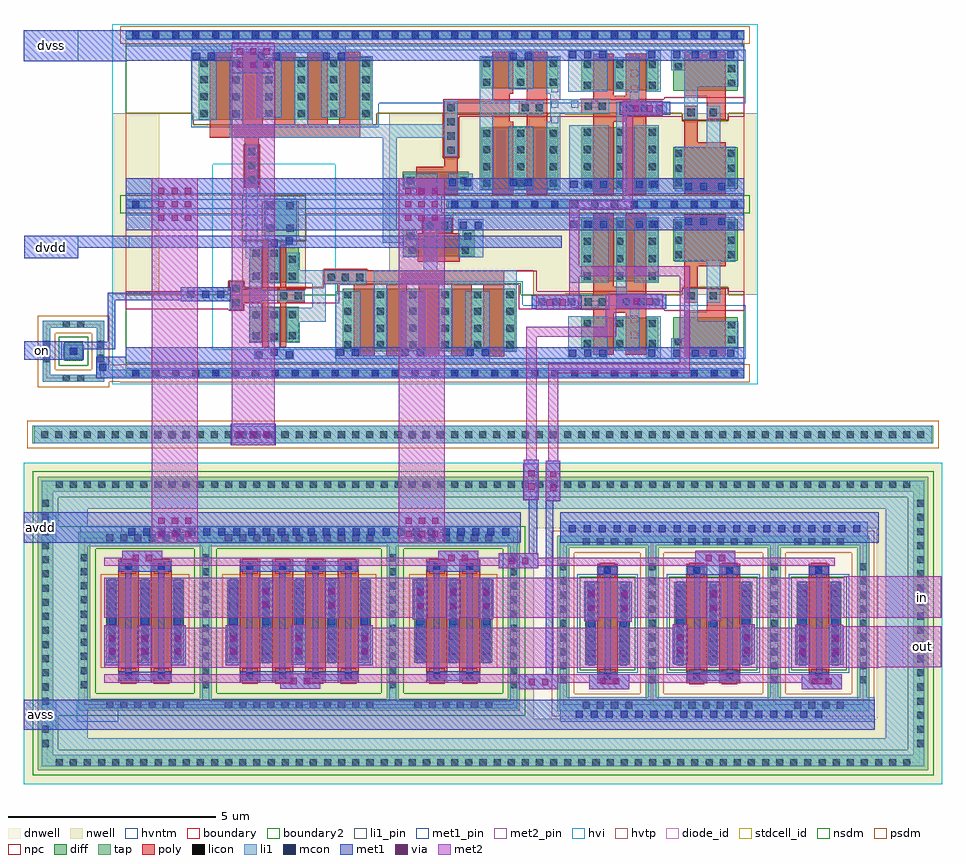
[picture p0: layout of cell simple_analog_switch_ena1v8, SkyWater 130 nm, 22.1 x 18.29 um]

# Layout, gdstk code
from math import pi, radians
import gdstk
lib = gdstk.Library(unit=1e-6, precision=1e-09)
def R(c, l, rs):  # rectangles x0, y0, x1, y1
    for r in rs: c.add(gdstk.rectangle(r[:2], r[2:], *l))
def A(c, l, x, y, w, h, nx, ny, dx, dy):  # array of equal rectangles
    R(c, l, [(x+i*dx, y+j*dy, x+i*dx+w, y+j*dy+h) for i in range(nx) for j in range(ny)])
def P(c, l, *ps):  # polygons
    for p in ps: c.add(gdstk.Polygon(p, *l))
dnwell = (64, 18)
nwell = (64, 20)
diff = (65, 20)
tap = (65, 44)
poly = (66, 20)
licon = (66, 44)
li1_pin = (67, 16)
li1 = (67, 20)
mcon = (67, 44)
met1_pin = (68, 16)
met1 = (68, 20)
via = (68, 44)
met2_pin = (69, 16)
met2 = (69, 20)
hvi = (75, 20)
hvtp = (78, 44)
stdcell_id = (81, 4)
diode_id = (81, 23)
nsdm = (93, 44)
psdm = (94, 20)
npc = (95, 20)
hvntm = (125, 20)
boundary = (235, 4)
boundary2 = (236, 0)

iso_switch_via = lib.new_cell('iso_switch_via')
R(iso_switch_via, met1, [(3.26,-14.57,3.62,-13.61)])
R(iso_switch_via, via, [(3.36,-14.325,3.51,-14.175), (3.36,-14.005,3.51,-13.855)])
R(iso_switch_via, met2, [(3.26,-14.57,3.62,-13.61)])

sky130_fd_pr__pfet_g5v0d = lib.new_cell('sky130_fd_pr__pfet_g5v0d10v5_KL97Y6')
R(sky130_fd_pr__pfet_g5v0d, nwell, [(-1.935,-2.485,1.935,2.485)])
R(sky130_fd_pr__pfet_g5v0d, diff, [(-0.935,-1,0.935,1)])
R(sky130_fd_pr__pfet_g5v0d, tap, [(-1.605,-2.155,1.605,-1.865), (-1.605,-1.865,-1.315,1.865), (1.315,-1.865,1.605,1.865), (-1.605,1.865,1.605,2.155)])
R(sky130_fd_pr__pfet_g5v0d, poly, [(-0.645,-1.485,-0.145,1.485), (0.145,-1.485,0.645,1.485)])
A(sky130_fd_pr__pfet_g5v0d, licon, -0.935, -2.095, 0.17, 0.17, 6, 2, 0.34, 4.02)
A(sky130_fd_pr__pfet_g5v0d, licon, -1.545, -1.615, 0.17, 0.17, 1, 10, 0, 0.34)
A(sky130_fd_pr__pfet_g5v0d, licon, 1.375, -1.615, 0.17, 0.17, 1, 10, 0, 0.34)
A(sky130_fd_pr__pfet_g5v0d, licon, -0.875, -0.935, 0.17, 0.17, 3, 6, 0.79, 0.34)
R(sky130_fd_pr__pfet_g5v0d, licon, [(-0.48,-1.405,-0.31,-1.235), (0.31,-1.405,0.48,-1.235), (-0.48,1.235,-0.31,1.405), (0.31,1.235,0.48,1.405)])
A(sky130_fd_pr__pfet_g5v0d, li1, -0.875, -1.02, 0.17, 2.04, 3, 1, 0.79, 0)
R(sky130_fd_pr__pfet_g5v0d, li1, [(-1.545,-2.095,1.545,-1.925), (-1.545,-1.925,-1.375,1.925), (1.375,-1.925,1.545,1.925), (-0.645,-1.405,-0.145,-1.235), (0.145,-1.405,0.645,-1.235), (-0.645,1.235,-0.145,1.405), (0.145,1.235,0.645,1.405), (-1.545,1.925,1.545,2.095)])
A(sky130_fd_pr__pfet_g5v0d, mcon, -0.875, -0.805, 0.17, 0.17, 3, 5, 0.79, 0.36)
R(sky130_fd_pr__pfet_g5v0d, mcon, [(-0.48,-1.405,-0.31,-1.235), (0.31,-1.405,0.48,-1.235), (-0.48,1.235,-0.31,1.405), (0.31,1.235,0.48,1.405)])
A(sky130_fd_pr__pfet_g5v0d, met1, -0.905, -1, 0.23, 2, 3, 1, 0.79, 0)
R(sky130_fd_pr__pfet_g5v0d, met1, [(-0.625,-1.435,-0.165,-1.205), (0.165,-1.435,0.625,-1.205), (-0.625,1.205,-0.165,1.435), (0.165,1.205,0.625,1.435)])
R(sky130_fd_pr__pfet_g5v0d, hvi, [(-1.935,-2.485,1.935,2.485)])
R(sky130_fd_pr__pfet_g5v0d, nsdm, [(-1.73,-2.28,1.73,-1.74), (-1.73,-1.74,-1.19,1.74), (1.19,-1.74,1.73,1.74), (-1.73,1.74,1.73,2.28)])
R(sky130_fd_pr__pfet_g5v0d, psdm, [(-1.06,-1.125,1.06,1.125)])
R(sky130_fd_pr__pfet_g5v0d, npc, [(-0.58,-1.505,-0.21,-1.135), (0.21,-1.505,0.58,-1.135), (-0.58,1.135,-0.21,1.505), (0.21,1.135,0.58,1.505)])
R(sky130_fd_pr__pfet_g5v0d, boundary, [(-1.46,-2.01,1.46,2.01)])

c_sky130_fd_pr__pfet_g5v0d = lib.new_cell('sky130_fd_pr__pfet_g5v0d10v5_KLHCT5')
R(c_sky130_fd_pr__pfet_g5v0d, nwell, [(-2.725,-2.485,2.725,2.485)])
R(c_sky130_fd_pr__pfet_g5v0d, diff, [(-1.725,-1,1.725,1)])
R(c_sky130_fd_pr__pfet_g5v0d, tap, [(-2.395,-2.155,2.395,-1.865), (-2.395,-1.865,-2.105,1.865), (2.105,-1.865,2.395,1.865), (-2.395,1.865,2.395,2.155)])
A(c_sky130_fd_pr__pfet_g5v0d, poly, -1.435, -1.485, 0.5, 2.97, 4, 1, 0.79, 0)
A(c_sky130_fd_pr__pfet_g5v0d, licon, -1.785, -2.095, 0.17, 0.17, 11, 2, 0.34, 4.02)
A(c_sky130_fd_pr__pfet_g5v0d, licon, -2.335, -1.615, 0.17, 0.17, 1, 10, 0, 0.34)
A(c_sky130_fd_pr__pfet_g5v0d, licon, 2.165, -1.615, 0.17, 0.17, 1, 10, 0, 0.34)
A(c_sky130_fd_pr__pfet_g5v0d, licon, -1.27, -1.405, 0.17, 0.17, 4, 2, 0.79, 2.64)
A(c_sky130_fd_pr__pfet_g5v0d, licon, -1.665, -0.935, 0.17, 0.17, 5, 6, 0.79, 0.34)
A(c_sky130_fd_pr__pfet_g5v0d, li1, -1.435, -1.405, 0.5, 0.17, 4, 2, 0.79, 2.64)
A(c_sky130_fd_pr__pfet_g5v0d, li1, -1.665, -1.02, 0.17, 2.04, 5, 1, 0.79, 0)
R(c_sky130_fd_pr__pfet_g5v0d, li1, [(-2.335,-2.095,2.335,-1.925), (-2.335,-1.925,-2.165,1.925), (2.165,-1.925,2.335,1.925), (-2.335,1.925,2.335,2.095)])
A(c_sky130_fd_pr__pfet_g5v0d, mcon, -1.27, -1.405, 0.17, 0.17, 4, 2, 0.79, 2.64)
A(c_sky130_fd_pr__pfet_g5v0d, mcon, -1.665, -0.805, 0.17, 0.17, 5, 5, 0.79, 0.36)
A(c_sky130_fd_pr__pfet_g5v0d, met1, -1.415, -1.435, 0.46, 0.23, 4, 2, 0.79, 2.64)
A(c_sky130_fd_pr__pfet_g5v0d, met1, -1.695, -1, 0.23, 2, 5, 1, 0.79, 0)
R(c_sky130_fd_pr__pfet_g5v0d, hvi, [(-2.725,-2.485,2.725,2.485)])
R(c_sky130_fd_pr__pfet_g5v0d, nsdm, [(-2.52,-2.28,2.52,-1.74), (-2.52,-1.74,-1.98,1.74), (1.98,-1.74,2.52,1.74), (-2.52,1.74,2.52,2.28)])
R(c_sky130_fd_pr__pfet_g5v0d, psdm, [(-1.85,-1.125,1.85,1.125)])
A(c_sky130_fd_pr__pfet_g5v0d, npc, -1.37, -1.505, 0.37, 0.37, 4, 2, 0.79, 2.64)
R(c_sky130_fd_pr__pfet_g5v0d, boundary, [(-2.25,-2.01,2.25,2.01)])

sky130_fd_pr__nfet_g5v0d = lib.new_cell('sky130_fd_pr__nfet_g5v0d10v5_WSEQJ8')
R(sky130_fd_pr__nfet_g5v0d, diff, [(-0.54,-1,0.54,1)])
R(sky130_fd_pr__nfet_g5v0d, tap, [(-1.21,-2.11,1.21,-1.82), (-1.21,-1.82,-0.92,1.82), (0.92,-1.82,1.21,1.82), (-1.21,1.82,1.21,2.11)])
R(sky130_fd_pr__nfet_g5v0d, poly, [(-0.25,-1.44,0.25,1.44)])
A(sky130_fd_pr__nfet_g5v0d, licon, -0.595, -2.05, 0.17, 0.17, 4, 2, 0.34, 3.93)
A(sky130_fd_pr__nfet_g5v0d, licon, -1.15, -1.445, 0.17, 0.17, 1, 9, 0, 0.34)
A(sky130_fd_pr__nfet_g5v0d, licon, 0.98, -1.445, 0.17, 0.17, 1, 9, 0, 0.34)
A(sky130_fd_pr__nfet_g5v0d, licon, -0.48, -0.935, 0.17, 0.17, 1, 6, 0, 0.34)
A(sky130_fd_pr__nfet_g5v0d, licon, 0.31, -0.935, 0.17, 0.17, 1, 6, 0, 0.34)
R(sky130_fd_pr__nfet_g5v0d, licon, [(-0.085,-1.36,0.085,-1.19), (-0.085,1.19,0.085,1.36)])
R(sky130_fd_pr__nfet_g5v0d, li1, [(-1.15,-2.05,1.15,-1.88), (-1.15,-1.88,-0.98,1.88), (0.98,-1.88,1.15,1.88), (-0.25,-1.36,0.25,-1.19), (-0.48,-1.02,-0.31,1.02), (0.31,-1.02,0.48,1.02), (-0.25,1.19,0.25,1.36), (-1.15,1.88,1.15,2.05)])
A(sky130_fd_pr__nfet_g5v0d, mcon, -0.48, -0.805, 0.17, 0.17, 1, 5, 0, 0.36)
A(sky130_fd_pr__nfet_g5v0d, mcon, 0.31, -0.805, 0.17, 0.17, 1, 5, 0, 0.36)
R(sky130_fd_pr__nfet_g5v0d, mcon, [(-0.085,-1.36,0.085,-1.19), (-0.085,1.19,0.085,1.36)])
R(sky130_fd_pr__nfet_g5v0d, met1, [(-0.23,-1.39,0.23,-1.16), (-0.51,-1,-0.28,1), (0.28,-1,0.51,1), (-0.23,1.16,0.23,1.39)])
R(sky130_fd_pr__nfet_g5v0d, hvi, [(-1.395,-2.295,1.395,2.295)])
R(sky130_fd_pr__nfet_g5v0d, nsdm, [(-0.665,-1.125,0.665,1.125)])
R(sky130_fd_pr__nfet_g5v0d, psdm, [(-1.335,-2.235,1.335,-1.695), (-1.335,-1.695,-0.795,1.695), (0.795,-1.695,1.335,1.695), (-1.335,1.695,1.335,2.235)])
R(sky130_fd_pr__nfet_g5v0d, npc, [(-0.185,-1.46,0.185,-1.09), (-0.185,1.09,0.185,1.46)])
R(sky130_fd_pr__nfet_g5v0d, hvntm, [(-0.725,-1.185,0.725,1.185)])
R(sky130_fd_pr__nfet_g5v0d, boundary, [(-1.06,-1.96,1.06,1.96)])

c_sky130_fd_pr__nfet_g5v0d = lib.new_cell('sky130_fd_pr__nfet_g5v0d10v5_EJGQFX')
R(c_sky130_fd_pr__nfet_g5v0d, diff, [(-0.935,-1,0.935,1)])
R(c_sky130_fd_pr__nfet_g5v0d, tap, [(-1.605,-2.11,1.605,-1.82), (-1.605,-1.82,-1.315,1.82), (1.315,-1.82,1.605,1.82), (-1.605,1.82,1.605,2.11)])
R(c_sky130_fd_pr__nfet_g5v0d, poly, [(-0.645,-1.44,-0.145,1.44), (0.145,-1.44,0.645,1.44)])
A(c_sky130_fd_pr__nfet_g5v0d, licon, -0.935, -2.05, 0.17, 0.17, 6, 2, 0.34, 3.93)
A(c_sky130_fd_pr__nfet_g5v0d, licon, -0.875, -0.935, 0.17, 0.17, 3, 6, 0.79, 0.34)
R(c_sky130_fd_pr__nfet_g5v0d, licon, [(-0.48,-1.36,-0.31,-1.19), (0.31,-1.36,0.48,-1.19), (-0.48,1.19,-0.31,1.36), (0.31,1.19,0.48,1.36)])
A(c_sky130_fd_pr__nfet_g5v0d, li1, -0.875, -1.02, 0.17, 2.04, 3, 1, 0.79, 0)
R(c_sky130_fd_pr__nfet_g5v0d, li1, [(-1.545,-2.05,1.545,-1.88), (-1.545,-1.88,-1.375,1.88), (1.375,-1.88,1.545,1.88), (-0.645,-1.36,-0.145,-1.19), (0.145,-1.36,0.645,-1.19), (-0.645,1.19,-0.145,1.36), (0.145,1.19,0.645,1.36), (-1.545,1.88,1.545,2.05)])
A(c_sky130_fd_pr__nfet_g5v0d, mcon, -0.875, -0.805, 0.17, 0.17, 3, 5, 0.79, 0.36)
R(c_sky130_fd_pr__nfet_g5v0d, mcon, [(-0.48,-1.36,-0.31,-1.19), (0.31,-1.36,0.48,-1.19), (-0.48,1.19,-0.31,1.36), (0.31,1.19,0.48,1.36)])
A(c_sky130_fd_pr__nfet_g5v0d, met1, -0.905, -1, 0.23, 2, 3, 1, 0.79, 0)
R(c_sky130_fd_pr__nfet_g5v0d, met1, [(-0.625,-1.39,-0.165,-1.16), (0.165,-1.39,0.625,-1.16), (-0.625,1.16,-0.165,1.39), (0.165,1.16,0.625,1.39)])
R(c_sky130_fd_pr__nfet_g5v0d, hvi, [(-1.79,-2.295,1.79,2.295)])
R(c_sky130_fd_pr__nfet_g5v0d, nsdm, [(-1.06,-1.125,1.06,1.125)])
R(c_sky130_fd_pr__nfet_g5v0d, psdm, [(-1.73,-2.235,1.73,-1.695), (-1.73,-1.695,-1.19,1.695), (1.19,-1.695,1.73,1.695), (-1.73,1.695,1.73,2.235)])
R(c_sky130_fd_pr__nfet_g5v0d, npc, [(-0.58,-1.46,-0.21,-1.09), (0.21,-1.46,0.58,-1.09), (-0.58,1.09,-0.21,1.46), (0.21,1.09,0.58,1.46)])
R(c_sky130_fd_pr__nfet_g5v0d, hvntm, [(-1.12,-1.185,1.12,1.185)])
R(c_sky130_fd_pr__nfet_g5v0d, boundary, [(-1.46,-1.965,1.46,1.965)])

simple_analog_switch = lib.new_cell('simple_analog_switch')
R(simple_analog_switch, dnwell, [(3.435,0.635,24.44,7.305)])
R(simple_analog_switch, nwell, [(2.885,0.12,24.985,1.695), (2.885,1.695,3.92,2.31), (23.41,1.695,24.985,6.275), (2.885,2.31,3.865,6.275), (2.885,6.275,24.985,7.85)])
R(simple_analog_switch, tap, [(3.22,0.45,24.655,0.82), (3.22,0.82,3.59,7.15), (24.285,0.82,24.655,7.15), (3.22,7.15,24.655,7.52)])
A(simple_analog_switch, licon, 3.65, 0.55, 0.17, 0.17, 61, 2, 0.34, 6.7)
A(simple_analog_switch, licon, 3.32, 1.01, 0.17, 0.17, 1, 18, 0, 0.34)
A(simple_analog_switch, licon, 24.385, 1.01, 0.17, 0.17, 1, 18, 0, 0.34)
R(simple_analog_switch, li1, [(3.32,0.55,24.555,1.22), (3.32,1.22,4.425,5.845), (23.63,1.22,24.555,6.74), (15.8,1.62,23.365,2.205), (3.32,5.845,14.77,6.315), (15.8,5.98,23.19,6.43), (3.32,6.315,4.425,6.74), (3.32,6.74,24.555,7.42)])
A(simple_analog_switch, mcon, 16.165, 1.715, 0.17, 0.17, 17, 1, 0.36, 0)
A(simple_analog_switch, mcon, 5.4, 6.1, 0.17, 0.17, 26, 1, 0.36, 0)
A(simple_analog_switch, mcon, 16, 6.18, 0.17, 0.17, 20, 1, 0.36, 0)
R(simple_analog_switch, met1_pin, [(4.16,1.615,5.16,2.15), (4.245,5.93,5.245,6.32), (15.44,6.93,15.78,7.835), (14.905,6.95,15.24,7.83)])
R(simple_analog_switch, met1, [(4.16,1.42,23.365,2.15), (15.44,2.57,15.62,6.93), (5.175,2.6,6.425,2.82), (8.095,2.6,10.925,2.835), (12.595,2.6,13.845,2.835), (16.87,2.6,17.01,5.335), (18.85,2.6,20.1,2.84), (21.96,2.6,22.1,5.335), (5.325,2.82,5.465,5.23), (6.12,2.82,6.26,5.23), (8.245,2.835,8.385,5.23), (9.035,2.835,9.175,5.23), (9.835,2.835,9.975,5.23), (10.625,2.835,10.765,5.23), (12.745,2.835,12.885,5.23), (13.545,2.835,13.685,5.23), (19.02,2.84,19.16,5.145), (19.81,2.84,19.95,5.145), (18.85,5.145,20.1,5.375), (5.175,5.23,6.425,5.46), (8.095,5.23,10.925,5.475), (12.595,5.23,13.845,5.475), (15.04,5.37,15.24,6.95), (4.245,5.93,14.84,6.32), (15.8,5.93,23.455,6.66), (4.25,6.32,14.84,6.66), (15.44,6.93,15.78,7.835), (14.905,6.95,15.24,7.83)])
R(simple_analog_switch, met2_pin, [(22.61,2.92,23.45,3.92), (22.615,4.12,23.445,5.12)])
R(simple_analog_switch, met2, [(4.82,2.56,22.395,2.76), (4.825,2.92,23.49,3.88), (22.61,3.88,23.49,3.92), (4.825,4.12,23.49,5.08), (22.615,5.08,23.49,5.12), (4.82,5.37,22.395,5.57)])
R(simple_analog_switch, hvi, [(2.885,0.12,24.985,1.695), (2.885,1.695,3.92,2.31), (15.155,1.695,15.535,6.275), (23.41,1.695,24.985,6.275), (2.885,2.31,3.865,6.275), (2.885,6.275,24.985,7.85)])
R(simple_analog_switch, nsdm, [(3.095,0.325,24.78,0.945), (3.095,0.945,3.715,1.76), (24.16,0.945,24.78,7.025), (3.095,1.76,4.07,6.32), (3.095,6.32,3.715,7.025), (3.095,7.025,24.78,7.645)])
simple_analog_switch.add(gdstk.Reference(iso_switch_via, (2.885,6.025), rotation=3*pi/2, x_reflection=True))
simple_analog_switch.add(gdstk.Reference(iso_switch_via, (6.865,-9.5), x_reflection=True))
simple_analog_switch.add(gdstk.Reference(iso_switch_via, (22.93,-9.57), rotation=pi))
simple_analog_switch.add(gdstk.Reference(iso_switch_via, (7.665,-10.63), x_reflection=True))
simple_analog_switch.add(gdstk.Reference(iso_switch_via, (6.055,-10.62), x_reflection=True))
simple_analog_switch.add(gdstk.Reference(iso_switch_via, (4.485,-10.63), x_reflection=True))
simple_analog_switch.add(gdstk.Reference(iso_switch_via, (3.165,-10.63), x_reflection=True))
simple_analog_switch.add(gdstk.Reference(iso_switch_via, (2.355,-10.63), x_reflection=True))
simple_analog_switch.add(gdstk.Reference(iso_switch_via, (8.985,-9.52), x_reflection=True))
simple_analog_switch.add(gdstk.Reference(iso_switch_via, (10.565,-9.52), x_reflection=True))
simple_analog_switch.add(gdstk.Reference(iso_switch_via, (9.775,-9.52), x_reflection=True))
simple_analog_switch.add(gdstk.Reference(iso_switch_via, (5.265,-9.49), x_reflection=True))
simple_analog_switch.add(gdstk.Reference(iso_switch_via, (8,6.025), rotation=3*pi/2, x_reflection=True))
simple_analog_switch.add(gdstk.Reference(iso_switch_via, (28.88,2.05), rotation=pi/2, x_reflection=True))
simple_analog_switch.add(gdstk.Reference(iso_switch_via, (23.73,-10.6), rotation=pi))
simple_analog_switch.add(gdstk.Reference(iso_switch_via, (22.12,-10.6), rotation=pi))
simple_analog_switch.add(gdstk.Reference(iso_switch_via, (25.07,-10.62), rotation=pi))
simple_analog_switch.add(gdstk.Reference(iso_switch_via, (20.78,-9.58), rotation=pi))
simple_analog_switch.add(gdstk.Reference(iso_switch_via, (19.99,-9.57), rotation=pi))
simple_analog_switch.add(gdstk.Reference(iso_switch_via, (25.87,-10.62), rotation=pi))
simple_analog_switch.add(gdstk.Reference(iso_switch_via, (1.565,-10.63), x_reflection=True))
simple_analog_switch.add(gdstk.Reference(iso_switch_via, (-8.355,8.995), rotation=3*pi/2, x_reflection=True))
simple_analog_switch.add(gdstk.Reference(iso_switch_via, (29.36,-0.86), rotation=pi/2, x_reflection=True))
simple_analog_switch.add(gdstk.Reference(iso_switch_via, (5.435,8.995), rotation=3*pi/2, x_reflection=True))
simple_analog_switch.add(gdstk.Reference(iso_switch_via, (-0.755,8.995), rotation=3*pi/2, x_reflection=True))
simple_analog_switch.add(gdstk.Reference(iso_switch_via, (-4.55,6.035), rotation=3*pi/2, x_reflection=True))
simple_analog_switch.add(gdstk.Reference(sky130_fd_pr__pfet_g5v0d, (13.22,4.04)))
simple_analog_switch.add(gdstk.Reference(sky130_fd_pr__pfet_g5v0d, (5.8,4.04)))
simple_analog_switch.add(gdstk.Reference(c_sky130_fd_pr__pfet_g5v0d, (9.51,4.04)))
simple_analog_switch.add(gdstk.Reference(sky130_fd_pr__nfet_g5v0d, (16.93,3.985), rotation=pi, x_reflection=True))
simple_analog_switch.add(gdstk.Reference(sky130_fd_pr__nfet_g5v0d, (22.02,3.985), rotation=pi, x_reflection=True))
simple_analog_switch.add(gdstk.Reference(c_sky130_fd_pr__nfet_g5v0d, (19.475,3.985), rotation=pi, x_reflection=True))
simple_analog_switch.add(gdstk.Label('on', (15.072,7.39), layer=68, texttype=5))
simple_analog_switch.add(gdstk.Label('off', (15.61,7.382), layer=68, texttype=5))
simple_analog_switch.add(gdstk.Label('vss', (4.66,1.882), layer=68, texttype=5))
simple_analog_switch.add(gdstk.Label('out', (23.03,3.42), layer=69, texttype=5))
simple_analog_switch.add(gdstk.Label('in', (23.03,4.62), layer=69, texttype=5))
simple_analog_switch.add(gdstk.Label('vdd', (4.745,6.125), layer=68, texttype=5))

sky130_fd_pr__diode_pw2n = lib.new_cell('sky130_fd_pr__diode_pw2nd_05v5_FT76RJ')
R(sky130_fd_pr__diode_pw2n, diff, [(-0.225,-0.225,0.225,0.225)])
R(sky130_fd_pr__diode_pw2n, tap, [(-0.735,-0.735,0.735,-0.565), (-0.735,-0.565,-0.565,0.565), (0.565,-0.565,0.735,0.565), (-0.735,0.565,0.735,0.735)])
R(sky130_fd_pr__diode_pw2n, licon, [(-0.255,-0.735,-0.085,-0.565), (0.085,-0.735,0.255,-0.565), (-0.735,-0.255,-0.565,-0.085), (0.565,-0.255,0.735,-0.085), (-0.085,-0.085,0.085,0.085), (-0.735,0.085,-0.565,0.255), (0.565,0.085,0.735,0.255), (-0.255,0.565,-0.085,0.735), (0.085,0.565,0.255,0.735)])
R(sky130_fd_pr__diode_pw2n, li1, [(-0.735,-0.735,0.735,-0.565), (-0.735,-0.565,-0.565,0.565), (0.565,-0.565,0.735,0.565), (-0.245,-0.165,0.245,0.165), (-0.735,0.565,0.735,0.735)])
R(sky130_fd_pr__diode_pw2n, mcon, [(-0.085,-0.085,0.085,0.085)])
R(sky130_fd_pr__diode_pw2n, met1, [(-0.225,-0.195,0.225,0.195)])
R(sky130_fd_pr__diode_pw2n, diode_id, [(-0.225,-0.225,0.225,0.225)])
R(sky130_fd_pr__diode_pw2n, nsdm, [(-0.35,-0.35,0.35,0.35)])
R(sky130_fd_pr__diode_pw2n, psdm, [(-0.86,-0.86,0.86,-0.44), (-0.86,-0.44,-0.44,0.44), (0.44,-0.44,0.86,0.44), (-0.86,0.44,0.86,0.86)])
R(sky130_fd_pr__diode_pw2n, boundary, [(-0.65,-0.65,0.65,0.65)])

sky130_fd_sc_hvl__decap_ = lib.new_cell('sky130_fd_sc_hvl__decap_4')
R(sky130_fd_sc_hvl__decap_, nwell, [(-0.33,1.885,2.25,4.485)])
R(sky130_fd_sc_hvl__decap_, diff, [(0.21,0.595,1.76,1.345), (0.21,2.705,1.76,3.705)])
R(sky130_fd_sc_hvl__decap_, tap, [(0,-0.085,1.92,0.085), (0,3.985,1.92,4.155)])
P(sky130_fd_sc_hvl__decap_, poly, [(1.475,3.835),(0.475,3.835),(0.475,1.7),(0.805,1.7),(0.805,2.575),(1.475,2.575)],
  [(1.475,2.03),(1.015,2.03),(1.015,1.475),(0.475,1.475),(0.475,0.405),(1.475,0.405)])
A(sky130_fd_sc_hvl__decap_, licon, 0.155, -0.085, 0.17, 0.17, 4, 2, 0.48, 4.07)
A(sky130_fd_sc_hvl__decap_, licon, 0.25, 2.765, 0.17, 0.17, 1, 3, 0, 0.355)
A(sky130_fd_sc_hvl__decap_, licon, 1.53, 2.765, 0.17, 0.17, 1, 3, 0, 0.355)
R(sky130_fd_sc_hvl__decap_, licon, [(0.25,0.675,0.42,0.845), (1.53,0.725,1.7,0.895), (1.53,1.08,1.7,1.25), (0.555,1.78,0.725,1.95), (1.095,1.78,1.265,1.95)])
R(sky130_fd_sc_hvl__decap_, li1, [(0,-0.085,1.92,0.085), (0,3.985,1.92,4.155)])
P(sky130_fd_sc_hvl__decap_, li1, [(1.7,3.755),(0.25,3.755),(0.25,2.685),(1.015,2.685),(1.015,1.7),(1.345,1.7),(1.345,2.685),(1.7,2.685)],
  [(1.78,1.25),(0.805,1.25),(0.805,2.03),(0.475,2.03),(0.475,0.845),(0.17,0.845),(0.17,0.365),(1.78,0.365)])
A(sky130_fd_sc_hvl__decap_, mcon, 0.155, -0.085, 0.17, 0.17, 4, 2, 0.48, 4.07)
A(sky130_fd_sc_hvl__decap_, mcon, 0.215, 0.395, 0.17, 0.17, 3, 1, 0.44, 0)
R(sky130_fd_sc_hvl__decap_, mcon, [(1.51,0.395,1.68,0.565), (0.495,3.56,0.665,3.73), (0.86,3.56,1.03,3.73), (1.3,3.56,1.47,3.73)])
R(sky130_fd_sc_hvl__decap_, met1_pin, [(0,0,1.92,0.115), (0,0,1.92,0.115), (0,0.255,1.92,0.625), (0,3.445,1.92,3.815), (0,3.955,1.92,4.07), (0,3.955,1.92,4.07)])
R(sky130_fd_sc_hvl__decap_, met1, [(0,-0.115,1.92,0.115), (0,0.255,1.92,0.625), (0,3.445,1.92,3.815), (0,3.955,1.92,4.185)])
R(sky130_fd_sc_hvl__decap_, hvi, [(-0.33,-0.265,2.25,4.485)])
R(sky130_fd_sc_hvl__decap_, stdcell_id, [(0,0,1.92,4.07)])
R(sky130_fd_sc_hvl__decap_, nsdm, [(-0.13,3.855,2.05,4.285)])
P(sky130_fd_sc_hvl__decap_, nsdm, [(1.92,1.885),(1.54,1.885),(1.54,2.07),(0.425,2.07),(0.425,1.885),(0,1.885),(0,0.215),(1.92,0.215)])
R(sky130_fd_sc_hvl__decap_, psdm, [(-0.13,-0.215,2.05,0.215)])
P(sky130_fd_sc_hvl__decap_, psdm, [(1.92,3.855),(0,3.855),(0,1.885),(0.425,1.885),(0.425,2.07),(1.54,2.07),(1.54,1.885),(1.92,1.885)])
P(sky130_fd_sc_hvl__decap_, npc, [(1.92,1.97),(1.54,1.97),(1.54,2.05),(0.425,2.05),(0.425,1.97),(0,1.97),(0,1.5),(1.92,1.5)])
R(sky130_fd_sc_hvl__decap_, hvntm, [(-0.035,0.35,1.955,1.64)])
R(sky130_fd_sc_hvl__decap_, boundary2, [(0,0,1.92,4.07)])
sky130_fd_sc_hvl__decap_.add(gdstk.Label('decap_4', (0,0), layer=83, texttype=44))
sky130_fd_sc_hvl__decap_.add(gdstk.Label('VNB', (0.96,0.058), layer=68, texttype=5))
sky130_fd_sc_hvl__decap_.add(gdstk.Label('VGND', (0.96,0.44), layer=68, texttype=5))
sky130_fd_sc_hvl__decap_.add(gdstk.Label('VNB', (0.96,0.058), layer=68, texttype=5))
sky130_fd_sc_hvl__decap_.add(gdstk.Label('VPWR', (0.96,3.63), layer=68, texttype=5))
sky130_fd_sc_hvl__decap_.add(gdstk.Label('VPB', (0.96,4.013), layer=68, texttype=5))
sky130_fd_sc_hvl__decap_.add(gdstk.Label('VPB', (0.96,4.013), layer=68, texttype=5))

sky130_fd_sc_hvl__inv_2 = lib.new_cell('sky130_fd_sc_hvl__inv_2')
R(sky130_fd_sc_hvl__inv_2, nwell, [(-0.33,1.885,2.73,4.485)])
R(sky130_fd_sc_hvl__inv_2, diff, [(0.4,0.58,2.25,1.33), (0.4,2.215,2.25,3.715)])
R(sky130_fd_sc_hvl__inv_2, tap, [(0,-0.085,2.4,0.085), (0,3.985,2.4,4.155)])
P(sky130_fd_sc_hvl__inv_2, poly, [(1.965,3.845),(1.465,3.845),(1.465,2.085),(1.185,2.085),(1.185,3.845),(0.685,3.845),(0.685,1.88),(0.4,1.88),(0.4,1.55),(0.685,1.55),(0.685,0.45),(1.185,0.45),(1.185,1.46),(1.465,1.46),(1.465,0.45),(1.965,0.45)])
A(sky130_fd_sc_hvl__inv_2, licon, 0.155, -0.085, 0.17, 0.17, 5, 2, 0.48, 4.07)
A(sky130_fd_sc_hvl__inv_2, licon, 0.46, 0.62, 0.17, 0.17, 3, 2, 0.78, 0.5)
A(sky130_fd_sc_hvl__inv_2, licon, 0.46, 2.255, 0.17, 0.17, 3, 2, 0.78, 0.415)
A(sky130_fd_sc_hvl__inv_2, licon, 0.46, 3.09, 0.17, 0.17, 3, 2, 0.78, 0.415)
R(sky130_fd_sc_hvl__inv_2, licon, [(0.48,1.63,0.65,1.8), (0.82,1.63,0.99,1.8)])
A(sky130_fd_sc_hvl__inv_2, li1_pin, 1.595, 0.84, 0.17, 0.17, 1, 3, 0, 0.37)
R(sky130_fd_sc_hvl__inv_2, li1_pin, [(0.155,1.58,0.325,1.75), (0.635,1.58,0.805,1.75)])
R(sky130_fd_sc_hvl__inv_2, li1, [(0,-0.085,2.4,0.085), (0.09,0.365,1.02,1.37), (1.98,0.365,2.31,1.37), (0.125,1.55,1.07,1.88), (0.11,2.175,1.06,3.755), (1.68,2.175,2.27,3.755), (0,3.985,2.4,4.155)])
P(sky130_fd_sc_hvl__inv_2, li1, [(1.795,1.78),(1.49,1.78),(1.49,3.755),(1.24,3.755),(1.24,1.61),(1.565,1.61),(1.565,1.37),(1.2,1.37),(1.2,0.54),(1.795,0.54)])
A(sky130_fd_sc_hvl__inv_2, mcon, 0.11, 0.395, 0.17, 0.17, 3, 1, 0.36, 0)
A(sky130_fd_sc_hvl__inv_2, mcon, 0.14, 3.505, 0.17, 0.17, 3, 1, 0.36, 0)
R(sky130_fd_sc_hvl__inv_2, mcon, [(0.155,-0.085,0.325,0.085), (0.155,-0.085,0.325,0.085), (0.635,-0.085,0.805,0.085), (0.635,-0.085,0.805,0.085), (1.115,-0.085,1.285,0.085), (1.115,-0.085,1.285,0.085), (1.595,-0.085,1.765,0.085), (1.595,-0.085,1.765,0.085), (2.075,-0.085,2.245,0.085), (2.075,-0.085,2.245,0.085), (2.01,0.395,2.18,0.565), (1.71,3.505,1.88,3.675), (2.07,3.505,2.24,3.675), (0.155,3.985,0.325,4.155), (0.155,3.985,0.325,4.155), (0.635,3.985,0.805,4.155), (0.635,3.985,0.805,4.155), (1.115,3.985,1.285,4.155), (1.115,3.985,1.285,4.155), (1.595,3.985,1.765,4.155), (1.595,3.985,1.765,4.155), (2.075,3.985,2.245,4.155), (2.075,3.985,2.245,4.155)])
R(sky130_fd_sc_hvl__inv_2, met1_pin, [(0,0,2.4,0.115), (0,0.255,2.4,0.625), (0,3.445,2.4,3.815), (0,3.955,2.4,4.07)])
R(sky130_fd_sc_hvl__inv_2, met1, [(0,-0.115,2.4,0.115), (0,0.255,2.4,0.625), (0,3.445,2.4,3.815), (0,3.955,2.4,4.185)])
R(sky130_fd_sc_hvl__inv_2, hvi, [(-0.33,-0.265,2.73,4.485)])
R(sky130_fd_sc_hvl__inv_2, stdcell_id, [(0,0,2.4,4.07)])
R(sky130_fd_sc_hvl__inv_2, nsdm, [(0,0.215,2.4,1.885), (-0.13,3.855,2.53,4.285), (0,3.855,2.4,4.07)])
R(sky130_fd_sc_hvl__inv_2, psdm, [(-0.13,-0.215,2.53,0.215)])
P(sky130_fd_sc_hvl__inv_2, psdm, [(2.4,3.855),(0,3.855),(0,1.91),(1.1,1.91),(1.1,1.885),(2.4,1.885)])
P(sky130_fd_sc_hvl__inv_2, npc, [(2.4,1.97),(0,1.97),(0,1.545),(0.38,1.545),(0.38,1.53),(1.09,1.53),(1.09,1.545),(2.4,1.545)])
R(sky130_fd_sc_hvl__inv_2, hvntm, [(-0.035,0.35,2.435,1.64)])
R(sky130_fd_sc_hvl__inv_2, boundary2, [(0,0,2.4,4.07)])
sky130_fd_sc_hvl__inv_2.add(gdstk.Label('inv_2', (0,0), layer=83, texttype=44))
sky130_fd_sc_hvl__inv_2.add(gdstk.Label('VGND', (1.2,0.44), layer=68, texttype=5))
sky130_fd_sc_hvl__inv_2.add(gdstk.Label('VNB', (1.2,0.058), layer=68, texttype=5))
sky130_fd_sc_hvl__inv_2.add(gdstk.Label('VPWR', (1.2,3.63), layer=68, texttype=5))
sky130_fd_sc_hvl__inv_2.add(gdstk.Label('VPB', (1.2,4.013), layer=68, texttype=5))
sky130_fd_sc_hvl__inv_2.add(gdstk.Label('A', (0.24,1.665), layer=67, texttype=5))
sky130_fd_sc_hvl__inv_2.add(gdstk.Label('A', (0.72,1.665), layer=67, texttype=5))
sky130_fd_sc_hvl__inv_2.add(gdstk.Label('Y', (1.68,0.925), layer=67, texttype=5))
sky130_fd_sc_hvl__inv_2.add(gdstk.Label('Y', (1.68,1.295), layer=67, texttype=5))
sky130_fd_sc_hvl__inv_2.add(gdstk.Label('Y', (1.68,1.665), layer=67, texttype=5))

sky130_fd_sc_hvl__lsbufl = lib.new_cell('sky130_fd_sc_hvl__lsbuflv2hv_1')
R(sky130_fd_sc_hvl__lsbufl, nwell, [(-0.33,1.885,0.8,6.255), (2.8,2.015,4.335,4.325)])
P(sky130_fd_sc_hvl__lsbufl, nwell, [(10.89,6.255),(6.335,6.255),(6.335,2.465),(9.8,2.465),(9.8,1.885),(10.89,1.885)])
R(sky130_fd_sc_hvl__lsbufl, diff, [(5.22,0.535,9.37,2.035), (2.985,0.755,4.155,1.595), (2.985,2.195,4.155,3.035), (6.665,4.425,8.255,4.845), (8.555,4.425,10.41,5.925), (1.755,6.105,5.905,7.605), (8.555,6.855,10.41,7.605)])
P(sky130_fd_sc_hvl__lsbufl, diff, [(8.395,3.445),(8.105,3.445),(8.105,3.235),(6.955,3.235),(6.955,3.445),(6.665,3.445),(6.665,2.815),(8.395,2.815)])
R(sky130_fd_sc_hvl__lsbufl, tap, [(0,-0.085,10.56,0.085), (3.265,3.305,4.155,4.145), (0,3.985,0.47,4.155), (7.715,3.985,10.56,4.155), (0,8.055,10.56,8.225)])
P(sky130_fd_sc_hvl__lsbufl, poly, [(3.43,3.165),(3.28,3.165),(3.28,2.035),(2.825,2.035),(2.825,2.2),(2.495,2.2),(2.495,1.53),(2.825,1.53),(2.825,1.705),(3.28,1.705),(3.28,0.625),(3.43,0.625)],
  [(10.145,7.735),(9.645,7.735),(9.645,6.555),(9.45,6.555),(9.45,6.225),(9.645,6.225),(9.645,4.295),(10.145,4.295)],
  [(9.32,6.055),(9.24,6.055),(9.24,6.725),(9.32,6.725),(9.32,7.735),(8.82,7.735),(8.82,6.555),(7.66,6.555),(7.66,4.975),(6.99,4.975),(6.99,4.295),(7.99,4.295),(7.99,6.225),(8.82,6.225),(8.82,4.295),(9.32,4.295)],
  [(9.105,2.475),(4.78,2.475),(4.78,2.145),(5.485,2.145),(5.485,0.405),(5.985,0.405),(5.985,2.145),(6.265,2.145),(6.265,0.405),(6.765,0.405),(6.765,2.145),(7.045,2.145),(7.045,0.405),(7.545,0.405),(7.545,2.145),(7.825,2.145),(7.825,0.405),(8.325,0.405),(8.325,2.145),(8.605,2.145),(8.605,0.405),(9.105,0.405)],
  [(8.03,3.365),(7.835,3.365),(7.835,3.725),(7.165,3.725),(7.165,3.365),(7.03,3.365),(7.03,2.685),(8.03,2.685)],
  [(5.64,7.735),(5.14,7.735),(5.14,5.995),(4.86,5.995),(4.86,7.735),(4.36,7.735),(4.36,5.995),(4.08,5.995),(4.08,7.735),(3.58,7.735),(3.58,5.995),(3.3,5.995),(3.3,7.735),(2.8,7.735),(2.8,5.995),(2.52,5.995),(2.52,7.735),(2.02,7.735),(2.02,5.665),(2.865,5.665),(2.865,4.485),(3.195,4.485),(3.195,5.665),(5.64,5.665)],
  [(4.31,2.035),(3.86,2.035),(3.86,3.165),(3.71,3.165),(3.71,2.035),(3.64,2.035),(3.64,1.705),(3.71,1.705),(3.71,0.625),(3.86,0.625),(3.86,1.705),(4.31,1.705)])
A(sky130_fd_sc_hvl__lsbufl, licon, 0.155, -0.085, 0.17, 0.17, 22, 2, 0.48, 8.14)
A(sky130_fd_sc_hvl__lsbufl, licon, 5.26, 0.595, 0.17, 0.17, 6, 2, 0.78, 0.4)
A(sky130_fd_sc_hvl__lsbufl, licon, 3.055, 1.325, 0.17, 0.17, 3, 2, 0.43, 0.92)
A(sky130_fd_sc_hvl__lsbufl, licon, 5.26, 1.405, 0.17, 0.17, 6, 2, 0.78, 0.4)
A(sky130_fd_sc_hvl__lsbufl, licon, 4.86, 2.225, 0.17, 0.17, 3, 1, 0.34, 0)
A(sky130_fd_sc_hvl__lsbufl, licon, 7.835, 3.985, 0.17, 0.17, 6, 1, 0.48, 0)
A(sky130_fd_sc_hvl__lsbufl, licon, 2.945, 4.565, 0.17, 0.17, 1, 3, 0, 0.34)
A(sky130_fd_sc_hvl__lsbufl, licon, 7.74, 5.285, 0.17, 0.17, 1, 4, 0, 0.34)
A(sky130_fd_sc_hvl__lsbufl, licon, 1.795, 6.165, 0.17, 0.17, 6, 2, 0.78, 0.4)
A(sky130_fd_sc_hvl__lsbufl, licon, 1.795, 6.975, 0.17, 0.17, 6, 2, 0.78, 0.4)
R(sky130_fd_sc_hvl__lsbufl, licon, [(3.485,0.795,3.655,0.965), (3.055,0.815,3.225,0.985), (3.915,0.815,4.085,0.985), (2.575,1.61,2.745,1.78), (3.72,1.785,3.89,1.955), (4.06,1.785,4.23,1.955), (2.575,1.95,2.745,2.12), (3.915,2.655,4.085,2.825), (3.055,2.805,3.225,2.975), (3.485,2.805,3.655,2.975), (6.805,2.875,6.975,3.045), (8.085,2.875,8.255,3.045), (6.745,3.215,6.915,3.385), (8.145,3.215,8.315,3.385), (3.385,3.4,3.555,3.57), (3.865,3.4,4.035,3.57), (7.245,3.475,7.415,3.645), (7.585,3.475,7.755,3.645), (3.385,3.95,3.555,4.12), (3.865,3.95,4.035,4.12), (0.155,3.985,0.325,4.155), (8.595,4.485,8.765,4.655), (9.42,4.485,9.59,4.655), (10.2,4.485,10.37,4.655), (6.765,4.55,6.935,4.72), (8.045,4.55,8.215,4.72), (8.595,4.885,8.765,5.055), (9.42,4.885,9.59,5.055), (10.2,4.885,10.37,5.055), (8.595,5.295,8.765,5.465), (9.42,5.295,9.59,5.465), (10.2,5.295,10.37,5.465), (8.595,5.695,8.765,5.865), (9.42,5.695,9.59,5.865), (10.2,5.695,10.37,5.865), (9.53,6.305,9.7,6.475), (9.87,6.305,10.04,6.475), (8.595,6.915,8.765,7.085), (9.42,6.915,9.59,7.085), (10.2,6.915,10.37,7.085), (8.595,7.375,8.765,7.545), (9.42,7.375,9.59,7.545), (10.2,7.375,10.37,7.545)])
A(sky130_fd_sc_hvl__lsbufl, li1_pin, 10.235, 5.28, 0.17, 0.17, 1, 5, 0, 0.37)
R(sky130_fd_sc_hvl__lsbufl, li1_pin, [(2.555,1.58,2.725,1.75), (2.555,1.95,2.725,2.12)])
R(sky130_fd_sc_hvl__lsbufl, li1, [(0,-0.085,10.56,0.085), (2.495,1.53,2.805,2.2), (8.005,2.795,8.595,3.705), (0,3.985,0.8,4.155), (7.755,3.985,10.56,4.155), (7.755,4.405,8.345,4.8), (9.21,4.405,9.8,5.945), (9.21,6.835,9.8,7.745), (0,8.055,10.56,8.225)])
P(sky130_fd_sc_hvl__lsbufl, li1, [(5.295,7.885),(1.585,7.885),(1.585,6.085),(2.175,6.085),(2.175,7.715),(3.145,7.715),(3.145,6.165),(3.735,6.165),(3.735,7.715),(4.705,7.715),(4.705,6.165),(5.295,6.165)],
  [(4.31,1.995),(3.265,1.995),(3.265,3.055),(3.175,3.055),(3.175,5.495),(2.885,5.495),(2.885,2.765),(2.975,2.765),(2.975,0.735),(3.265,0.735),(3.265,1.745),(4.31,1.745)],
  [(9.41,2.475),(7.495,2.475),(7.495,3.395),(7.835,3.395),(7.835,3.805),(7.495,3.805),(7.495,4.8),(6.685,4.8),(6.685,4.47),(7.165,4.47),(7.165,2.475),(5.96,2.475),(5.96,0.595),(6.29,0.595),(6.29,2.145),(7.52,2.145),(7.52,0.595),(7.85,0.595),(7.85,2.145),(9.08,2.145),(9.08,0.515),(9.41,0.515)],
  [(8.76,1.975),(8.17,1.975),(8.17,0.425),(7.2,0.425),(7.2,1.975),(6.61,1.975),(6.61,0.425),(5.64,0.425),(5.64,1.975),(5.05,1.975),(5.05,0.255),(8.76,0.255)],
  [(4.045,0.565),(3.705,0.565),(3.705,1.575),(3.435,1.575),(3.435,0.565),(3.095,0.565),(3.095,0.335),(4.045,0.335)],
  [(10.04,6.555),(8.845,6.555),(8.845,7.625),(8.515,7.625),(8.515,4.405),(8.845,4.405),(8.845,6.225),(10.04,6.225)],
  [(7.99,6.555),(7.66,6.555),(7.66,5.995),(5.945,5.995),(5.945,7.625),(5.615,7.625),(5.615,5.995),(4.385,5.995),(4.385,7.545),(4.055,7.545),(4.055,5.995),(2.825,5.995),(2.825,7.545),(2.495,7.545),(2.495,5.665),(6.185,5.665),(6.185,3.135),(6.665,3.135),(6.665,2.795),(6.995,2.795),(6.995,3.465),(6.515,3.465),(6.515,5.665),(7.66,5.665),(7.66,5.205),(7.99,5.205)],
  [(5.79,2.475),(4.185,2.475),(4.185,2.905),(3.875,2.905),(3.875,2.165),(4.48,2.165),(4.48,1.575),(3.875,1.575),(3.875,0.735),(4.185,0.735),(4.185,1.245),(4.81,1.245),(4.81,2.145),(5.79,2.145)],
  [(4.115,4.2),(3.345,4.2),(3.345,3.225),(3.435,3.225),(3.435,2.165),(3.705,2.165),(3.705,3.075),(4.115,3.075)],
  [(10.45,7.625),(10.12,7.625),(10.12,6.725),(10.21,6.725),(10.21,6.055),(10.12,6.055),(10.12,4.405),(10.45,4.405)])
A(sky130_fd_sc_hvl__lsbufl, mcon, 0.155, -0.085, 0.17, 0.17, 22, 2, 0.48, 8.14)
A(sky130_fd_sc_hvl__lsbufl, mcon, 7.835, 3.985, 0.17, 0.17, 6, 1, 0.48, 0)
R(sky130_fd_sc_hvl__lsbufl, mcon, [(3.125,0.365,3.295,0.535), (3.845,0.365,4.015,0.535), (3.485,0.425,3.655,0.595), (5.08,0.425,5.25,0.595), (5.44,0.425,5.61,0.595), (6.64,0.425,6.81,0.595), (7,0.425,7.17,0.595), (8.2,0.425,8.37,0.595), (8.56,0.425,8.73,0.595), (3.485,3.05,3.655,3.22), (3.845,3.105,4.015,3.275), (8.035,3.475,8.205,3.645), (8.395,3.475,8.565,3.645), (0.155,3.985,0.325,4.155), (7.785,4.495,7.955,4.665), (8.145,4.495,8.315,4.665), (9.24,4.495,9.41,4.665), (9.6,4.495,9.77,4.665), (1.615,7.545,1.785,7.715), (1.975,7.545,2.145,7.715), (3.175,7.545,3.345,7.715), (3.535,7.545,3.705,7.715), (4.735,7.545,4.905,7.715), (5.095,7.545,5.265,7.715), (9.24,7.545,9.41,7.715), (9.6,7.545,9.77,7.715)])
R(sky130_fd_sc_hvl__lsbufl, met1_pin, [(0,0,10.56,0.115), (0,0.255,10.56,0.625), (0.07,3.02,10.49,3.305), (0,3.445,10.56,3.815), (0,3.955,10.56,4.185), (0,4.325,10.56,4.695), (0,7.515,10.56,7.885), (0,8.025,10.56,8.14)])
A(sky130_fd_sc_hvl__lsbufl, met1, 0, -0.115, 10.56, 0.23, 1, 3, 0, 4.07)
R(sky130_fd_sc_hvl__lsbufl, met1, [(0,0.255,10.56,0.625), (0.07,3.02,10.49,3.305), (0,3.445,10.56,3.815), (0,4.325,10.56,4.695), (0,7.515,10.56,7.885)])
P(sky130_fd_sc_hvl__lsbufl, hvi, [(10.89,8.405),(5.035,8.405),(5.035,0.575),(2.095,0.575),(2.095,5.035),(5.035,5.035),(5.035,8.405),(-0.33,8.405),(-0.33,-0.265),(10.89,-0.265)])
R(sky130_fd_sc_hvl__lsbufl, hvtp, [(2.805,2.015,4.335,3.215)])
R(sky130_fd_sc_hvl__lsbufl, stdcell_id, [(0,0,10.56,8.14)])
R(sky130_fd_sc_hvl__lsbufl, nsdm, [(2.8,3.175,4.335,4.275), (-0.13,3.855,0.8,4.285), (7.585,3.855,10.69,4.285)])
P(sky130_fd_sc_hvl__lsbufl, nsdm, [(10.56,7.925),(0,7.925),(0,6.255),(1.625,6.255),(1.625,5.975),(6.035,5.975),(6.035,6.255),(10.56,6.255)],
  [(10.56,1.885),(9.5,1.885),(9.5,2.165),(5.09,2.165),(5.09,1.885),(0,1.885),(0,0.215),(10.56,0.215)])
R(sky130_fd_sc_hvl__lsbufl, psdm, [(-0.13,-0.215,10.69,0.215), (-0.13,7.925,10.69,8.355)])
P(sky130_fd_sc_hvl__lsbufl, psdm, [(10.56,6.255),(10.15,6.255),(10.15,6.195),(8.02,6.195),(8.02,5.175),(7.63,5.175),(7.63,6.255),(6.035,6.255),(6.035,5.975),(1.625,5.975),(1.625,6.255),(0,6.255),(0,4.285),(2.835,4.285),(2.835,5.525),(3.225,5.525),(3.225,4.285),(10.56,4.285)],
  [(10.56,3.855),(7.865,3.855),(7.865,3.365),(7.135,3.365),(7.135,3.855),(4.335,3.855),(4.335,3.175),(2.8,3.175),(2.8,3.855),(0,3.855),(0,1.885),(2.465,1.885),(2.465,2.23),(2.855,2.23),(2.855,2.065),(4.75,2.065),(4.75,2.505),(5.82,2.505),(5.82,2.465),(9.8,2.465),(9.8,1.885),(10.56,1.885)])
R(sky130_fd_sc_hvl__lsbufl, npc, [(7.145,3.375,7.855,3.745), (2.845,4.465,3.215,5.515)])
P(sky130_fd_sc_hvl__lsbufl, npc, [(10.56,6.595),(7.64,6.595),(7.64,5.185),(8.01,5.185),(8.01,6.17),(10.56,6.17)],
  [(10.56,1.97),(9.885,1.97),(9.885,2.47),(5.81,2.47),(5.81,2.495),(4.76,2.495),(4.76,2.055),(2.845,2.055),(2.845,2.22),(2.475,2.22),(2.475,1.97),(0,1.97),(0,1.545),(2.475,1.545),(2.475,1.51),(2.845,1.51),(2.845,1.685),(5.13,1.685),(5.13,2.125),(9.46,2.125),(9.46,1.545),(10.56,1.545)])
P(sky130_fd_sc_hvl__lsbufl, hvntm, [(10.595,1.64),(9.555,1.64),(9.555,2.22),(5.035,2.22),(5.035,0.35),(10.595,0.35)],
  [(10.595,7.79),(1.57,7.79),(1.57,5.92),(6.09,5.92),(6.09,6.5),(10.595,6.5)])
R(sky130_fd_sc_hvl__lsbufl, boundary2, [(0,0,10.56,8.14)])
sky130_fd_sc_hvl__lsbufl.add(gdstk.Label('lsbuflv2hv_1', (0,0), layer=83, texttype=44))
sky130_fd_sc_hvl__lsbufl.add(gdstk.Label('VPWR', (4.8,4.51), layer=68, texttype=5))
sky130_fd_sc_hvl__lsbufl.add(gdstk.Label('VPWR', (4.8,3.63), layer=68, texttype=5))
sky130_fd_sc_hvl__lsbufl.add(gdstk.Label('VGND', (4.7,7.7), layer=68, texttype=5))
sky130_fd_sc_hvl__lsbufl.add(gdstk.Label('VGND', (4.8,0.44), layer=68, texttype=5))
sky130_fd_sc_hvl__lsbufl.add(gdstk.Label('VNB', (4.8,0.058), layer=68, texttype=5))
sky130_fd_sc_hvl__lsbufl.add(gdstk.Label('LVPWR', (4.8,3.165), layer=68, texttype=5))
sky130_fd_sc_hvl__lsbufl.add(gdstk.Label('VPB', (4.8,4.068), layer=68, texttype=5))
sky130_fd_sc_hvl__lsbufl.add(gdstk.Label('VNB', (4.8,8.082), layer=68, texttype=5))
sky130_fd_sc_hvl__lsbufl.add(gdstk.Label('A', (2.64,2.035), layer=67, texttype=5))
sky130_fd_sc_hvl__lsbufl.add(gdstk.Label('A', (2.64,1.665), layer=67, texttype=5))
sky130_fd_sc_hvl__lsbufl.add(gdstk.Label('X', (10.32,6.105), layer=67, texttype=5))
sky130_fd_sc_hvl__lsbufl.add(gdstk.Label('X', (10.32,5.735), layer=67, texttype=5))
sky130_fd_sc_hvl__lsbufl.add(gdstk.Label('X', (10.32,5.365), layer=67, texttype=5))
sky130_fd_sc_hvl__lsbufl.add(gdstk.Label('X', (10.32,6.475), layer=67, texttype=5))
sky130_fd_sc_hvl__lsbufl.add(gdstk.Label('X', (10.32,6.845), layer=67, texttype=5))

simple_analog_switch_ena = lib.new_cell('simple_analog_switch_ena1v8')
R(simple_analog_switch_ena, tap, [(0.205,8.2,21.89,8.62)])
A(simple_analog_switch_ena, licon, 0.42, 8.325, 0.17, 0.17, 63, 1, 0.34, 0)
R(simple_analog_switch_ena, li1, [(0.245,8.2,21.85,8.62), (1.76,9.77,2.04,9.8), (1.76,9.8,2.46,9.97), (1.76,9.97,2.04,10.28), (12.22,11.435,13.42,11.765), (14.255,11.44,15.455,11.77), (3.78,11.62,4.98,11.96), (14.395,16.105,15.475,16.415), (12.83,16.145,13.145,16.475)])
A(simple_analog_switch_ena, mcon, 5.075, 8.325, 0.17, 0.17, 3, 1, 0.36, 0)
A(simple_analog_switch_ena, mcon, 12.375, 11.52, 0.17, 0.17, 3, 1, 0.36, 0)
A(simple_analog_switch_ena, mcon, 14.41, 11.525, 0.17, 0.17, 3, 1, 0.36, 0)
A(simple_analog_switch_ena, mcon, 3.935, 11.705, 0.17, 0.17, 3, 1, 0.36, 0)
A(simple_analog_switch_ena, mcon, 14.49, 16.175, 0.17, 0.17, 3, 1, 0.36, 0)
R(simple_analog_switch_ena, mcon, [(1.81,9.945,1.98,10.115)])
R(simple_analog_switch_ena, met1_pin, [(0,1.3,0.78,2.03), (0,5.81,0.78,6.54), (0.01,10.205,0.91,10.65), (0.005,12.65,1.315,13.19), (0,17.395,1.315,18.135)])
R(simple_analog_switch_ena, met1, [(0,1.3,1.275,2.03), (0,5.81,1.365,6.54), (3.075,5.81,4.185,6.54), (9.025,5.81,10.135,6.54), (4.98,8.15,6.065,8.675), (1.74,9.77,2.48,9.9), (1.74,9.9,17.34,10.28), (0.01,10.205,1.445,10.465), (0.01,10.465,2.195,10.645), (0.01,10.645,1.445,10.65), (2.015,10.645,2.195,11.645), (12.22,11.435,13.42,11.765), (14.255,11.44,15.455,11.77), (3.78,11.62,4.98,11.645), (2.015,11.645,4.98,11.825), (3.78,11.825,4.98,11.96), (0.005,12.65,1.315,12.905), (0.005,12.905,2.585,13.19), (3.075,13.33,4.185,13.65), (9.02,13.33,10.135,13.65), (2.455,13.65,17.32,14.34), (3.075,14.34,4.185,14.58), (9.02,14.34,10.135,14.58), (14.345,16.105,15.555,16.415), (5.005,17.1,6.04,17.69), (0,17.395,2.49,17.69), (0,17.69,17.305,18.02), (0,18.02,2.49,18.135)])
A(simple_analog_switch_ena, via, 3.24, 5.94, 0.15, 0.15, 3, 2, 0.32, 0.32)
A(simple_analog_switch_ena, via, 9.185, 5.94, 0.15, 0.15, 3, 2, 0.32, 0.32)
A(simple_analog_switch_ena, via, 5.125, 8.335, 0.15, 0.15, 3, 2, 0.32, 8.9)
A(simple_analog_switch_ena, via, 3.235, 13.555, 0.15, 0.15, 3, 3, 0.32, 0.32)
A(simple_analog_switch_ena, via, 9.175, 13.555, 0.15, 0.15, 3, 3, 0.32, 0.32)
A(simple_analog_switch_ena, via, 5.125, 17.555, 0.15, 0.15, 3, 1, 0.32, 0)
R(simple_analog_switch_ena, met2_pin, [(21.15,2.805,22.08,3.8), (21.15,4,22.08,5)])
R(simple_analog_switch_ena, met2, [(20.595,2.805,22.08,3.8), (20.59,4,22.08,5), (3.075,5.81,4.185,14.58), (9.025,5.81,10.135,13.33), (12.615,7.63,12.855,9.88), (12.09,7.7,12.34,10.76), (5.005,8.15,6.04,17.84), (12.615,9.88,16.03,10.12), (15.79,10.12,16.03,12.215), (12.09,10.76,14.255,11.01), (14.005,11.01,14.255,11.435), (13.13,11.415,13.37,12.215), (14.005,11.435,14.415,11.79), (14.79,11.435,15.03,11.475), (14.08,11.79,14.415,11.795), (13.13,12.215,16.03,12.455), (13.13,12.455,13.37,13.825), (9.02,13.33,10.135,14.58), (13.13,13.825,14.655,14.065), (14.415,14.065,14.655,16.26)])
R(simple_analog_switch_ena, hvi, [(13.05,16.14,13.23,17.605)])
R(simple_analog_switch_ena, nsdm, [(15.39,10.355,15.5,11.34), (15.39,16.57,15.5,17.555), (12.99,16.615,13.29,17.57)])
R(simple_analog_switch_ena, psdm, [(0.08,8.075,22.015,8.745), (2.055,9.675,2.33,10.095), (15.39,12.465,15.5,13.715), (12.99,14.185,13.29,15.935), (15.39,14.195,15.5,15.445)])
R(simple_analog_switch_ena, hvntm, [(13.05,16.555,13.23,17.63)])
simple_analog_switch_ena.add(gdstk.Reference(iso_switch_via, (15.65,21.41), rotation=pi, x_reflection=True))
simple_analog_switch_ena.add(gdstk.Reference(iso_switch_via, (16.175,21.385), rotation=pi, x_reflection=True))
simple_analog_switch_ena.add(gdstk.Reference(simple_analog_switch, (-2.885,-0.12)))
simple_analog_switch_ena.add(gdstk.Reference(iso_switch_via, (28.985,12.82), rotation=pi/2, x_reflection=True))
simple_analog_switch_ena.add(gdstk.Reference(iso_switch_via, (26.9,8.15), rotation=pi/2, x_reflection=True))
simple_analog_switch_ena.add(gdstk.Reference(iso_switch_via, (28.985,8.175), rotation=pi/2, x_reflection=True))
simple_analog_switch_ena.add(gdstk.Reference(sky130_fd_pr__diode_pw2n, (1.195,10.41)))
simple_analog_switch_ena.add(gdstk.Reference(sky130_fd_sc_hvl__decap_, (15.415,18.025), x_reflection=True))
simple_analog_switch_ena.add(gdstk.Reference(sky130_fd_sc_hvl__decap_, (15.415,9.885)))
simple_analog_switch_ena.add(gdstk.Reference(sky130_fd_sc_hvl__inv_2, (13.015,9.885)))
simple_analog_switch_ena.add(gdstk.Reference(sky130_fd_sc_hvl__inv_2, (13.015,18.025), x_reflection=True))
simple_analog_switch_ena.add(gdstk.Reference(sky130_fd_sc_hvl__lsbufl, (2.455,9.885)))
simple_analog_switch_ena.add(gdstk.Label('in', (21.615,4.5), layer=69, texttype=5))
simple_analog_switch_ena.add(gdstk.Label('out', (21.615,3.302), layer=69, texttype=5))
simple_analog_switch_ena.add(gdstk.Label('avdd', (0.39,6.175), layer=68, texttype=5))
simple_analog_switch_ena.add(gdstk.Label('avss', (0.39,1.665), layer=68, texttype=5))
simple_analog_switch_ena.add(gdstk.Label('dvdd', (0.66,12.92), layer=68, texttype=5))
simple_analog_switch_ena.add(gdstk.Label('dvss', (0.657,17.765), layer=68, texttype=5))
simple_analog_switch_ena.add(gdstk.Label('on', (0.46,10.427), layer=68, texttype=5))

lib.write_gds('simple_analog_switch_ena1v8.gds')
